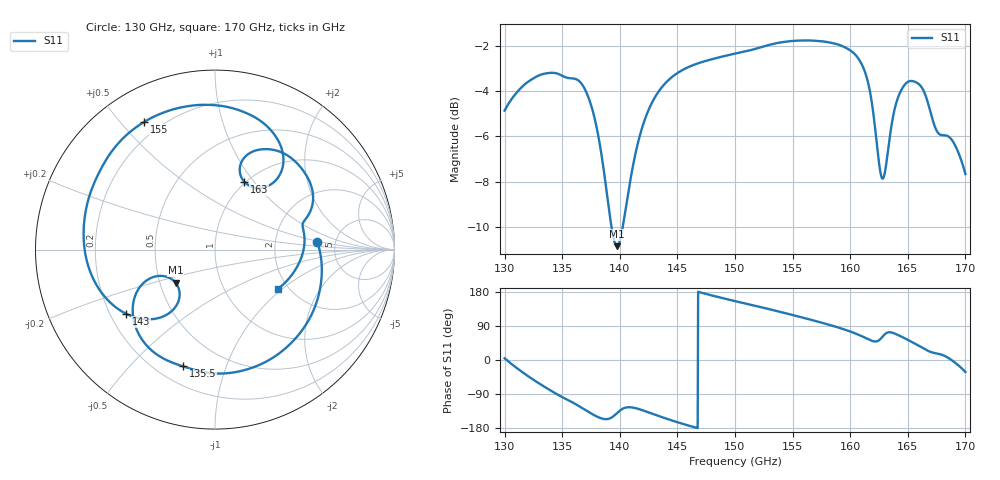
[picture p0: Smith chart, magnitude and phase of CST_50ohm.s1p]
! TOUCHSTONE file generated by CST MICROWAVE STUDIO
! Date and time: Fri Nov 20 14:25:48 2026
! Project name: Initial_4x4.cst
! Parameters = {board_x_max=2.4; board_x_min=-3.12; eps_r=3.5; feed_width=0.1688; first_split_x=-2.9; inlet_rail_separation=0.225; inset_gap=0.02; inset_length=0.165; launch_length=0.5; loss_tangent=0.0027; mesh_box=30; mesh_near=20; metal_thickness=0.002; patch_length=0.5148; patch_width=0.667; pit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
! Header version: 2024
! Port assignment regex: !\s*Touchstone port\s*([0-9]+)\s*=\s*(CST MWS port|CST DES external port|CST DES block port)\s*(.+)\s* \(\"(.*)\"\)(\s*mode\s*([0-9]+))?.*
! Touchstone port assignment:
! Touchstone port 1 = CST MWS port 1 ("50ohm_microstrip")
# GHz S RI R 50
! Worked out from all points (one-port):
!   1001 points, 130 GHz to 170 GHz, reference 50 ohm
!   lowest |S11| = -10.8 dB at 139.8 GHz (marker M1), VSWR 1.81, Z = 30.1 - j12.1 ohm
!   |S11| at or under -10 dB: 139.3 GHz to 140.3 GHz (971.2 MHz wide, 0.695 % of centre)
!   S11 on the Smith chart (normalised r, x): 130 GHz: 3.60, +0.48; 135.5 GHz: 0.30, -0.72; 143 GHz: 0.27, -0.30; 155 GHz: 0.14, +0.58; 163 GHz: 0.99, +0.90; 170 GHz: 1.78, -0.93
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130  0.5695 0.045
131.32  0.5667 -0.2914
132.8  0.36 -0.5764
133.92  0.1307 -0.6794
135  -0.0942 -0.6754
135.48  -0.1786 -0.6505
136.48  -0.3538 -0.561
137.6  -0.4584 -0.3497
138.76  -0.3617 -0.1602
139.76  -0.2199 -0.1846
140  -0.2034 -0.2136
141.52  -0.2965 -0.3757
143.04  -0.4951 -0.3576
145  -0.665 -0.1885
147.28  -0.7312 0.0517
150  -0.6936 0.3179
154.96  -0.395 0.7112
155  -0.3912 0.7135
157.76  -0.0919 0.8058
160  0.1974 0.7502
161.72  0.3815 0.4998
162.4  0.2947 0.3544
162.96  0.1636 0.3778
163.96  0.2156 0.5485
165  0.3958 0.5294
166.56  0.5465 0.2822
168.92  0.4877 -0.0238
170  0.3525 -0.2175
